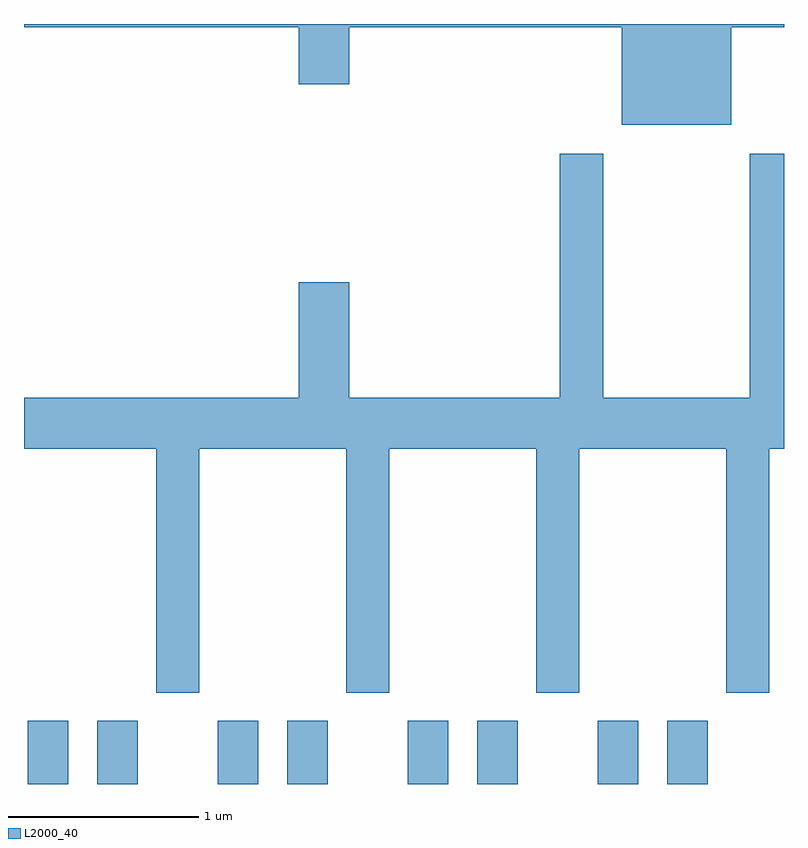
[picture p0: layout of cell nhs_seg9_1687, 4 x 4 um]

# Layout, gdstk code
import gdstk
lib = gdstk.Library(unit=1e-6, precision=1e-09)
def R(c, l, rs):  # rectangles x0, y0, x1, y1
    for r in rs: c.add(gdstk.rectangle(r[:2], r[2:], *l))
def P(c, l, *ps):  # polygons
    for p in ps: c.add(gdstk.Polygon(p, *l))
L2000_40 = (2000, 40)

nhs_seg9_1687 = lib.new_cell('nhs_seg9_1687')
R(nhs_seg9_1687, L2000_40, [(233.631,2054.432,233.844,2054.764), (233.996,2054.432,234.209,2054.764), (234.631,2054.432,234.844,2054.764), (234.996,2054.432,235.209,2054.764), (235.631,2054.432,235.844,2054.764), (235.996,2054.432,236.209,2054.764), (236.631,2054.432,236.844,2054.764), (236.996,2054.432,237.209,2054.764)])
P(nhs_seg9_1687, L2000_40, [(237.334,2058.416),(237.611,2058.416),(237.611,2058.432),(233.611,2058.432),(233.611,2058.416),(235.056,2058.416),(235.056,2058.116),(235.324,2058.116),(235.324,2058.416),(236.756,2058.416),(236.756,2057.901),(237.334,2057.901)],
  [(234.534,2056.196),(235.306,2056.196),(235.306,2054.911),(235.534,2054.911),(235.534,2056.196),(236.306,2056.196),(236.306,2054.911),(236.534,2054.911),(236.534,2056.196),(237.306,2056.196),(237.306,2054.911),(237.534,2054.911),(237.534,2056.196),(237.611,2056.196),(237.611,2057.749),(237.431,2057.749),(237.431,2056.464),(236.659,2056.464),(236.659,2057.749),(236.431,2057.749),(236.431,2056.464),(235.324,2056.464),(235.324,2057.074),(235.056,2057.074),(235.056,2056.464),(233.611,2056.464),(233.611,2056.196),(234.306,2056.196),(234.306,2054.911),(234.534,2054.911)])

lib.write_gds('nhs_seg9_1687.gds')
